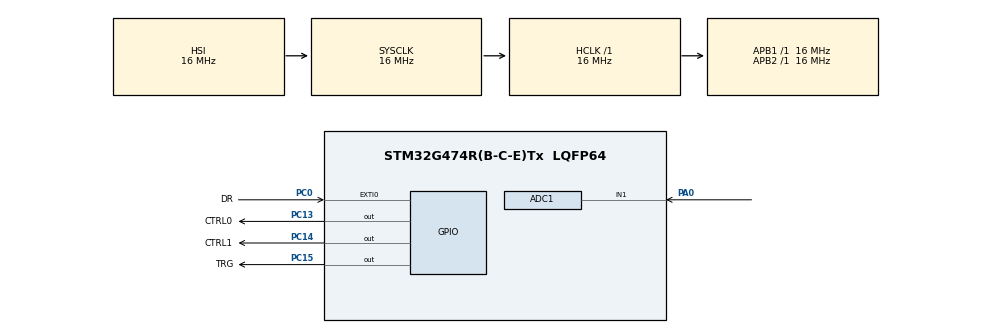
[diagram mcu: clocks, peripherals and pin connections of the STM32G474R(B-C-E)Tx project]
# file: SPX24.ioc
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ADC1.Channel-0\#ChannelRegularConversion=ADC_CHANNEL_1
ADC1.NbrOfConversionFlag=1
ADC1.OffsetNumber-0\#ChannelRegularConversion=ADC_OFFSET_NONE
ADC1.Rank-0\#ChannelRegularConversion=1
ADC1.SamplingTime-0\#ChannelRegularConversion=ADC_SAMPLETIME_2CYCLES_5
ADC1.master=1
Mcu.Family=STM32G4
Mcu.Name=STM32G474R(B-C-E)Tx
Mcu.Package=LQFP64
NVIC.ADC1_2_IRQn=true\:0\:0\:false\:false\:true\:true\:true\:true
NVIC.EXTI0_IRQn=true\:0\:0\:false\:false\:true\:true\:true\:true
NVIC.PriorityGroup=NVIC_PRIORITYGROUP_4
PA0.Mode=IN1-Single-Ended
PA0.Signal=ADC1_IN1
PC0.GPIO_Label=DR
PC0.Signal=GPXTI0
PC13.GPIO_Label=CTRL0
PC13.Signal=GPIO_Output
PC14-OSC32_IN.GPIO_Label=CTRL1
PC14-OSC32_IN.Signal=GPIO_Output
PC15-OSC32_OUT.GPIO_Label=TRG
PC15-OSC32_OUT.Signal=GPIO_Output
ProjectManager.HeapSize=0x200
ProjectManager.StackSize=0x400
ProjectManager.TargetToolchain=STM32CubeIDE
RCC.AHBFreq_Value=16000000
RCC.APB1Freq_Value=16000000
RCC.APB1TimFreq_Value=16000000
RCC.APB2Freq_Value=16000000
RCC.APB2TimFreq_Value=16000000
RCC.CortexFreq_Value=16000000
RCC.EXTERNAL_CLOCK_VALUE=12288000
RCC.HCLKFreq_Value=16000000
RCC.HSE_VALUE=8000000
RCC.HSI48_VALUE=48000000
RCC.HSI_VALUE=16000000
RCC.LSE_VALUE=32768
RCC.SYSCLKFreq_VALUE=16000000
RCC.USBFreq_Value=64000000
RCC.VCOOutputFreq_Value=128000000
VP_SYS_VS_DBSignals.Mode=DisableDeadBatterySignals
board=custom

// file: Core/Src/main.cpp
/* USER CODE BEGIN Header */
/**
  ******************************************************************************
  * @file           : main.c
  * @brief          : Main program body
  ******************************************************************************
  * @attention
  *
  * Copyright (c) 2024 STMicroelectronics.
  * All rights reserved.
  *
  * This software is licensed under terms that can be found in the LICENSE file
  * in the root directory of this software component.
  * If no LICENSE file comes with this software, it is provided AS-IS.
  *
  ******************************************************************************
  */
/* USER CODE END Header */
#include "main.h"

/* USER CODE BEGIN Includes */
#include "SPX24.hpp"

/* USER CODE END Includes */

ADC_HandleTypeDef hadc1;

void SystemClock_Config(void);
static void MX_GPIO_Init(void);
static void MX_ADC1_Init(void);

/* USER CODE BEGIN 0 */

/**
* Value of soil moisture.
*/
uint32_t moisture = 0;
/**
* Value of soil PH.
*/
uint32_t ph = 0;
/**
* Value of soil temperature.
*/
uint32_t temperature = 0;

/**
* Awaiting DR interrupt to begin ADC reading.
*/
void HAL_GPIO_EXTI_Callback(uint16_t GPIO_Pin)
{
  if(GPIO_Pin == DR_Pin) {
	// Trigger can be disabled now.
    HAL_GPIO_WritePin(TRG_GPIO_Port, TRG_Pin, GPIO_PIN_RESET);
    // Read data using interrupt
    HAL_ADC_Start_IT(&hadc1);
  } else {
      __NOP();
  }
}

/**
* The ADC calls this interrupt function after the read has been completed.
*
* Pass the value read to the corresponding variable and set the next requested value.
* Set's up sensor pins.
*/
void HAL_ADC_ConvCpltCallback(ADC_HandleTypeDef* hadc)
{
  SPX24::PARAMETER requested = SPX24::getCurrentSetSensor();
  switch(requested){
  case SPX24::PARAMETER::MOISTURE:
	  moisture = HAL_ADC_GetValue(&hadc1);
	  requested = SPX24::PARAMETER::PH;
	  break;

  case SPX24::PARAMETER::PH:
  	  ph = HAL_ADC_GetValue(&hadc1);
  	  requested = SPX24::PARAMETER::TEMPERATURE;
  	  break;

	case SPX24::PARAMETER::TEMPERATURE:
	  temperature = HAL_ADC_GetValue(&hadc1);
	  requested = SPX24::PARAMETER::MOISTURE;
	  break;
  }
  SPX24::readSensor(requested, CTRL0_GPIO_Port, CTRL0_Pin, CTRL1_GPIO_Port, CTRL1_Pin, TRG_GPIO_Port, TRG_Pin);
}

/* USER CODE END 0 */

int main(void)
{

  /* MCU Configuration--------------------------------------------------------*/

  /* Reset of all peripherals, Initializes the Flash interface and the Systick. */
  HAL_Init();

  /* Configure the system clock */
  SystemClock_Config();

  /* Initialize all configured peripherals */
  MX_GPIO_Init();
  MX_ADC1_Init();
  /* USER CODE BEGIN 2 */
  // Start sensors reading.
  // Needs to be started manually only once.
  SPX24::readSensor(SPX24::MOISTURE, CTRL0_GPIO_Port, CTRL0_Pin, CTRL1_GPIO_Port, CTRL1_Pin, TRG_GPIO_Port, TRG_Pin);

  /* USER CODE END 2 */

  /* Infinite loop */
  while (1)
  {

  }
}

void SystemClock_Config(void)
{
  RCC_OscInitTypeDef RCC_OscInitStruct = {0};
  RCC_ClkInitTypeDef RCC_ClkInitStruct = {0};

  /** Configure the main internal regulator output voltage
  */
  HAL_PWREx_ControlVoltageScaling(PWR_REGULATOR_VOLTAGE_SCALE1);

  /** Initializes the RCC Oscillators according to the specified parameters
  * in the RCC_OscInitTypeDef structure.
  */
  RCC_OscInitStruct.OscillatorType = RCC_OSCILLATORTYPE_HSI;
  RCC_OscInitStruct.HSIState = RCC_HSI_ON;
  RCC_OscInitStruct.HSICalibrationValue = RCC_HSICALIBRATION_DEFAULT;
  RCC_OscInitStruct.PLL.PLLState = RCC_PLL_NONE;
  if (HAL_RCC_OscConfig(&RCC_OscInitStruct) != HAL_OK)
  {
    Error_Handler();
  }

  /** Initializes the CPU, AHB and APB buses clocks
  */
  RCC_ClkInitStruct.ClockType = RCC_CLOCKTYPE_HCLK|RCC_CLOCKTYPE_SYSCLK
                              |RCC_CLOCKTYPE_PCLK1|RCC_CLOCKTYPE_PCLK2;
  RCC_ClkInitStruct.SYSCLKSource = RCC_SYSCLKSOURCE_HSI;
  RCC_ClkInitStruct.AHBCLKDivider = RCC_SYSCLK_DIV1;
  RCC_ClkInitStruct.APB1CLKDivider = RCC_HCLK_DIV1;
  RCC_ClkInitStruct.APB2CLKDivider = RCC_HCLK_DIV1;

  if (HAL_RCC_ClockConfig(&RCC_ClkInitStruct, FLASH_LATENCY_0) != HAL_OK)
  {
    Error_Handler();
  }
}

static void MX_ADC1_Init(void)
{

  ADC_MultiModeTypeDef multimode = {0};
  ADC_ChannelConfTypeDef sConfig = {0};

  /** Common config
  */
  hadc1.Instance = ADC1;
  hadc1.Init.ClockPrescaler = ADC_CLOCK_SYNC_PCLK_DIV2;
  hadc1.Init.Resolution = ADC_RESOLUTION_12B;
  hadc1.Init.DataAlign = ADC_DATAALIGN_RIGHT;
  hadc1.Init.GainCompensation = 0;
  hadc1.Init.ScanConvMode = ADC_SCAN_DISABLE;
  hadc1.Init.EOCSelection = ADC_EOC_SINGLE_CONV;
  hadc1.Init.LowPowerAutoWait = DISABLE;
  hadc1.Init.ContinuousConvMode = DISABLE;
  hadc1.Init.NbrOfConversion = 1;
  hadc1.Init.DiscontinuousConvMode = DISABLE;
  hadc1.Init.ExternalTrigConv = ADC_SOFTWARE_START;
  hadc1.Init.ExternalTrigConvEdge = ADC_EXTERNALTRIGCONVEDGE_NONE;
  hadc1.Init.DMAContinuousRequests = DISABLE;
  hadc1.Init.Overrun = ADC_OVR_DATA_PRESERVED;
  hadc1.Init.OversamplingMode = DISABLE;
  if (HAL_ADC_Init(&hadc1) != HAL_OK)
  {
    Error_Handler();
  }

  /** Configure the ADC multi-mode
  */
  multimode.Mode = ADC_MODE_INDEPENDENT;
  if (HAL_ADCEx_MultiModeConfigChannel(&hadc1, &multimode) != HAL_OK)
  {
    Error_Handler();
  }

  /** Configure Regular Channel
  */
  sConfig.Channel = ADC_CHANNEL_1;
  sConfig.Rank = ADC_REGULAR_RANK_1;
  sConfig.SamplingTime = ADC_SAMPLETIME_2CYCLES_5;
  sConfig.SingleDiff = ADC_SINGLE_ENDED;
  sConfig.OffsetNumber = ADC_OFFSET_NONE;
  sConfig.Offset = 0;
  if (HAL_ADC_ConfigChannel(&hadc1, &sConfig) != HAL_OK)
  {
    Error_Handler();
  }

}

static void MX_GPIO_Init(void)
{
  GPIO_InitTypeDef GPIO_InitStruct = {0};

  /* GPIO Ports Clock Enable */
  __HAL_RCC_GPIOC_CLK_ENABLE();
  __HAL_RCC_GPIOA_CLK_ENABLE();

  /*Configure GPIO pin Output Level */
  HAL_GPIO_WritePin(GPIOC, CTRL0_Pin|CTRL1_Pin|TRG_Pin, GPIO_PIN_RESET);

  /*Configure GPIO pins : CTRL0_Pin CTRL1_Pin TRG_Pin */
  GPIO_InitStruct.Pin = CTRL0_Pin|CTRL1_Pin|TRG_Pin;
  GPIO_InitStruct.Mode = GPIO_MODE_OUTPUT_PP;
  GPIO_InitStruct.Pull = GPIO_NOPULL;
  GPIO_InitStruct.Speed = GPIO_SPEED_FREQ_LOW;
  HAL_GPIO_Init(GPIOC, &GPIO_InitStruct);

  /*Configure GPIO pin : DR_Pin */
  GPIO_InitStruct.Pin = DR_Pin;
  GPIO_InitStruct.Mode = GPIO_MODE_IT_RISING;
  GPIO_InitStruct.Pull = GPIO_NOPULL;
  HAL_GPIO_Init(DR_GPIO_Port, &GPIO_InitStruct);

  /* EXTI interrupt init*/
  HAL_NVIC_SetPriority(EXTI0_IRQn, 0, 0);
  HAL_NVIC_EnableIRQ(EXTI0_IRQn);

}

void Error_Handler(void)
{
  __disable_irq();
  while (1)
  {
  }
}
